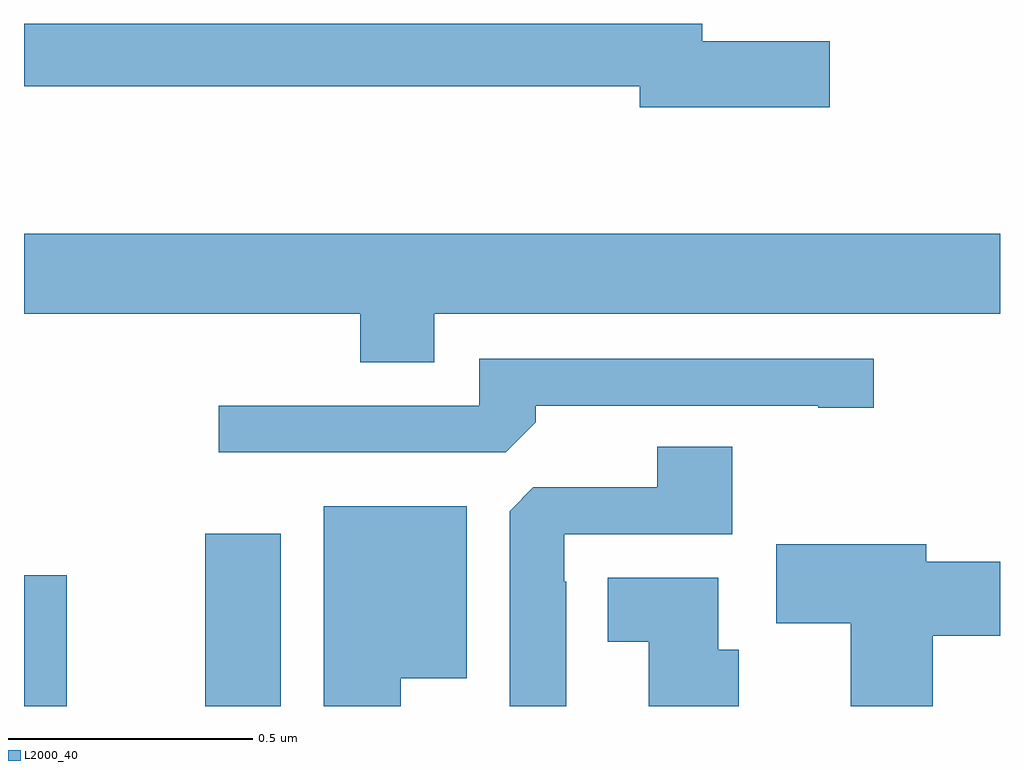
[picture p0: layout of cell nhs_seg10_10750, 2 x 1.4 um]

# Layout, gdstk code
import gdstk
lib = gdstk.Library(unit=1e-6, precision=1e-09)
def R(c, l, rs):  # rectangles x0, y0, x1, y1
    for r in rs: c.add(gdstk.rectangle(r[:2], r[2:], *l))
def P(c, l, *ps):  # polygons
    for p in ps: c.add(gdstk.Polygon(p, *l))
L2000_40 = (2000, 40)

nhs_seg10_10750 = lib.new_cell('nhs_seg10_10750')
R(nhs_seg10_10750, L2000_40, [(246,1311.5,246.088,1311.768), (246.371,1311.5,246.526,1311.853)])
P(nhs_seg10_10750, L2000_40, [(247.651,1312.862),(247.39,1312.862),(247.39,1312.898),(246,1312.898),(246,1312.77),(247.262,1312.77),(247.262,1312.727),(247.651,1312.727)],
  [(246.841,1312.304),(248,1312.304),(248,1312.468),(246,1312.468),(246,1312.304),(246.689,1312.304),(246.689,1312.205),(246.841,1312.205)],
  [(247.049,1312.082),(247.049,1312.116),(247.628,1312.116),(247.628,1312.111),(247.741,1312.111),(247.741,1312.212),(246.933,1312.212),(246.933,1312.116),(246.399,1312.116),(246.399,1312.02),(246.987,1312.02)],
  [(247.111,1311.755),(247.107,1311.755),(247.107,1311.852),(247.451,1311.852),(247.451,1312.031),(247.298,1312.031),(247.298,1311.948),(247.044,1311.948),(246.995,1311.899),(246.995,1311.5),(247.111,1311.5)],
  [(246.772,1311.557),(246.907,1311.557),(246.907,1311.91),(246.614,1311.91),(246.614,1311.5),(246.772,1311.5)],
  [(247.862,1311.644),(248,1311.644),(248,1311.796),(247.849,1311.796),(247.849,1311.832),(247.542,1311.832),(247.542,1311.67),(247.694,1311.67),(247.694,1311.5),(247.862,1311.5)],
  [(247.465,1311.616),(247.423,1311.616),(247.423,1311.763),(247.196,1311.763),(247.196,1311.632),(247.28,1311.632),(247.28,1311.5),(247.465,1311.5)])

lib.write_gds('nhs_seg10_10750.gds')
